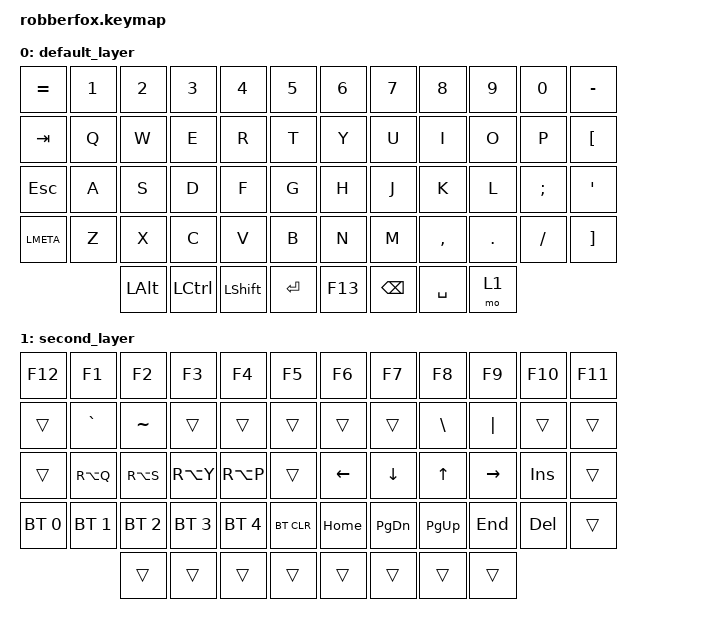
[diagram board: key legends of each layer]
#include <behaviors.dtsi>
#include <dt-bindings/zmk/keys.h>
#include <dt-bindings/zmk/bt.h>

/ {
	keymap {
		compatible = "zmk,keymap";

		default_layer {
			bindings = <
				&kp EQUAL &kp N1 &kp N2   &kp N3    &kp N4    &kp N5    &kp N6  &kp N7   &kp N8    &kp N9  &kp N0   &kp MINUS
				&kp TAB   &kp Q  &kp W    &kp E     &kp R     &kp T     &kp Y   &kp U    &kp I     &kp O   &kp P    &kp LBKT
				&kp ESC   &kp A  &kp S    &kp D     &kp F     &kp G     &kp H   &kp J    &kp K     &kp L   &kp SEMI &kp SQT
				&kp LMETA &kp Z  &kp X    &kp C     &kp V     &kp B     &kp N   &kp M    &kp COMMA &kp DOT &kp FSLH &kp RBKT
				                 &kp LALT &kp LCTRL &kp LSHFT &kp ENTER &kp F13 &kp BSPC &kp SPACE &mo 1
			>;
		};
		second_layer {
			bindings = <
				&kp F12      &kp F1       &kp F2       &kp F3       &kp F4       &kp F5      &kp F6    &kp F7    &kp F8    &kp F9      &kp F10   &kp F11
				&trans       &kp GRAVE    &kp TILDE    &trans       &trans       &trans      &trans    &trans    &kp BSLH  &kp PIPE    &trans    &trans
				&trans       &kp RA(Q)    &kp RA(S)    &kp RA(Y)    &kp RA(P)    &trans      &kp LEFT  &kp DOWN  &kp UP    &kp RIGHT   &kp INS   &trans
				&bt BT_SEL 0 &bt BT_SEL 1 &bt BT_SEL 2 &bt BT_SEL 3 &bt BT_SEL 4 &bt BT_CLR  &kp HOME  &kp PG_DN &kp PG_UP &kp END     &kp DEL   &trans
				                          &trans       &trans       &trans       &trans      &trans    &trans    &trans    &trans
			>;
		};
	};
};
